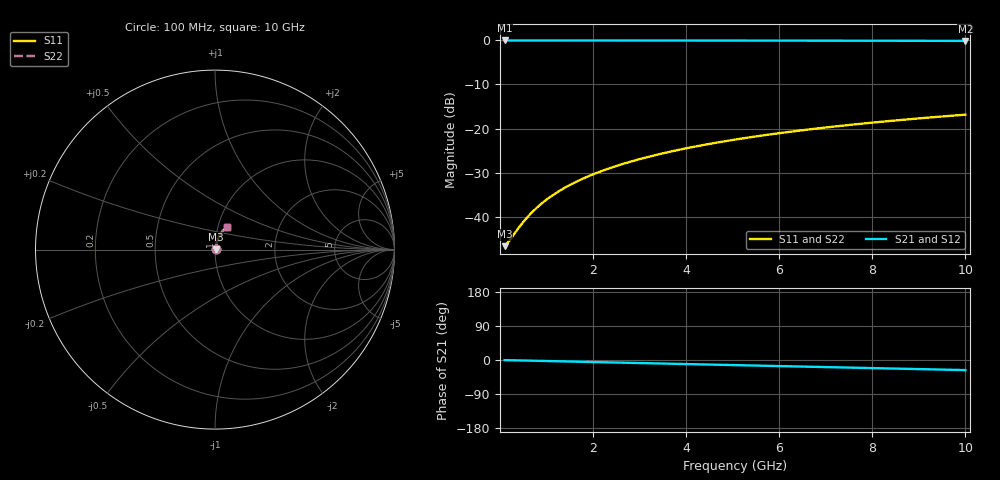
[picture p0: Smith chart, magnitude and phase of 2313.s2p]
# Hz S RI R 50.00
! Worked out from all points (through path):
!   100 points, 100 MHz to 10 GHz, reference 50 ohm
!   highest |S21| = -0.04 dB at 100 MHz (marker M1); lowest = -0.1 dB at 10 GHz (marker M2)
!   group delay of S21, straight-line fit = 7.41 ps
!   lowest |S11| = -46.7 dB at 100 MHz (marker M3), VSWR 1.01, Z = 50.4 + j0.149 ohm
!   |S11| at or under -10 dB: start of sweep to end of sweep
!   |S22| runs from -46.7 to -16.9 dB; largest |S21 - S12| = 0
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1e8  0.0044 0.00148  0.9956 -0.00465  0.9956 -0.00465  0.0044 0.00148
2e8  0.00445 0.00295  0.9955 -0.0093  0.9955 -0.0093  0.00445 0.00295
4e8  0.00457 0.00591  0.9953 -0.0186  0.9953 -0.0186  0.00457 0.00591
5e8  0.00465 0.00738  0.9952 -0.0233  0.9952 -0.0233  0.00465 0.00738
6e8  0.00473 0.00885  0.9951 -0.0279  0.9951 -0.0279  0.00473 0.00885
7e8  0.00483 0.0103  0.9949 -0.0326  0.9949 -0.0326  0.00483 0.0103
9e8  0.00507 0.0133  0.9945 -0.0418  0.9945 -0.0418  0.00507 0.0133
1.1e9  0.00537 0.0162  0.994 -0.0511  0.994 -0.0511  0.00537 0.0162
1.3e9  0.00571 0.0191  0.9934 -0.0604  0.9934 -0.0604  0.00571 0.0191
1.5e9  0.00611 0.0221  0.9927 -0.0697  0.9927 -0.0697  0.00611 0.0221
1.8e9  0.00681 0.0264  0.9915 -0.0836  0.9915 -0.0836  0.00681 0.0264
2.1e9  0.00763 0.0308  0.9901 -0.0974  0.9901 -0.0974  0.00763 0.0308
2.5e9  0.00891 0.0365  0.9879 -0.1159  0.9879 -0.1159  0.00891 0.0365
2.9e9  0.0104 0.0422  0.9853 -0.1343  0.9853 -0.1343  0.0104 0.0422
3.4e9  0.0126 0.0493  0.9815 -0.1572  0.9815 -0.1572  0.0126 0.0493
4.2e9  0.0167 0.0603  0.9743 -0.1935  0.9743 -0.1935  0.0167 0.0603
5.1e9  0.0223 0.0723  0.9644 -0.234  0.9644 -0.234  0.0223 0.0723
5.9e9  0.0281 0.0825  0.954 -0.2695  0.954 -0.2695  0.0281 0.0825
6.7e9  0.0346 0.0922  0.9423 -0.3044  0.9423 -0.3044  0.0346 0.0922
7.5e9  0.0419 0.1014  0.9293 -0.3387  0.9293 -0.3387  0.0419 0.1014
8.4e9  0.0508 0.111  0.913 -0.3766  0.913 -0.3766  0.0508 0.111
1e10  0.0684 0.1262  0.8801 -0.4417  0.8801 -0.4417  0.0684 0.1262
